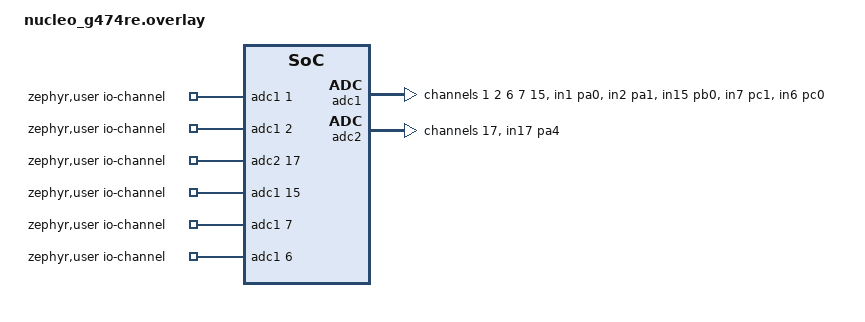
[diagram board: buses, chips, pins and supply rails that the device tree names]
/*
 * SPDX-License-Identifier: Apache-2.0
 *
 * Copyright (c) 2026 Caglayan Dokme <caglayandokme@gmail.com>
 */

/ {
	zephyr,user {
		/* A0, A1, A2, A3, A4, A5 */
		io-channels = <&adc1 1>, <&adc1 2>, <&adc2 17>,
			      <&adc1 15>, <&adc1 7>, <&adc1 6>;
	};
};

&adc1 {
	pinctrl-0 = <&adc1_in1_pa0 &adc1_in2_pa1 &adc1_in15_pb0
		     &adc1_in7_pc1 &adc1_in6_pc0>;
	pinctrl-names = "default";
	#address-cells = <1>;
	#size-cells = <0>;

	channel@1 {
		reg = <1>;
		zephyr,gain = "ADC_GAIN_1";
		zephyr,reference = "ADC_REF_INTERNAL";
		zephyr,acquisition-time = <ADC_ACQ_TIME_DEFAULT>;
		zephyr,resolution = <12>;
	};

	channel@2 {
		reg = <2>;
		zephyr,gain = "ADC_GAIN_1";
		zephyr,reference = "ADC_REF_INTERNAL";
		zephyr,acquisition-time = <ADC_ACQ_TIME_DEFAULT>;
		zephyr,resolution = <12>;
	};

	channel@6 {
		reg = <6>;
		zephyr,gain = "ADC_GAIN_1";
		zephyr,reference = "ADC_REF_INTERNAL";
		zephyr,acquisition-time = <ADC_ACQ_TIME_DEFAULT>;
		zephyr,resolution = <12>;
	};

	channel@7 {
		reg = <7>;
		zephyr,gain = "ADC_GAIN_1";
		zephyr,reference = "ADC_REF_INTERNAL";
		zephyr,acquisition-time = <ADC_ACQ_TIME_DEFAULT>;
		zephyr,resolution = <12>;
	};

	channel@f {
		reg = <15>;
		zephyr,gain = "ADC_GAIN_1";
		zephyr,reference = "ADC_REF_INTERNAL";
		zephyr,acquisition-time = <ADC_ACQ_TIME_DEFAULT>;
		zephyr,resolution = <12>;
	};
};

&adc2 {
	pinctrl-0 = <&adc2_in17_pa4>;
	pinctrl-names = "default";
	st,adc-clock-source = "SYNC";
	st,adc-prescaler = <4>;
	status = "okay";
	#address-cells = <1>;
	#size-cells = <0>;

	channel@11 {
		reg = <17>;
		zephyr,gain = "ADC_GAIN_1";
		zephyr,reference = "ADC_REF_INTERNAL";
		zephyr,acquisition-time = <ADC_ACQ_TIME_DEFAULT>;
		zephyr,resolution = <12>;
	};
};
